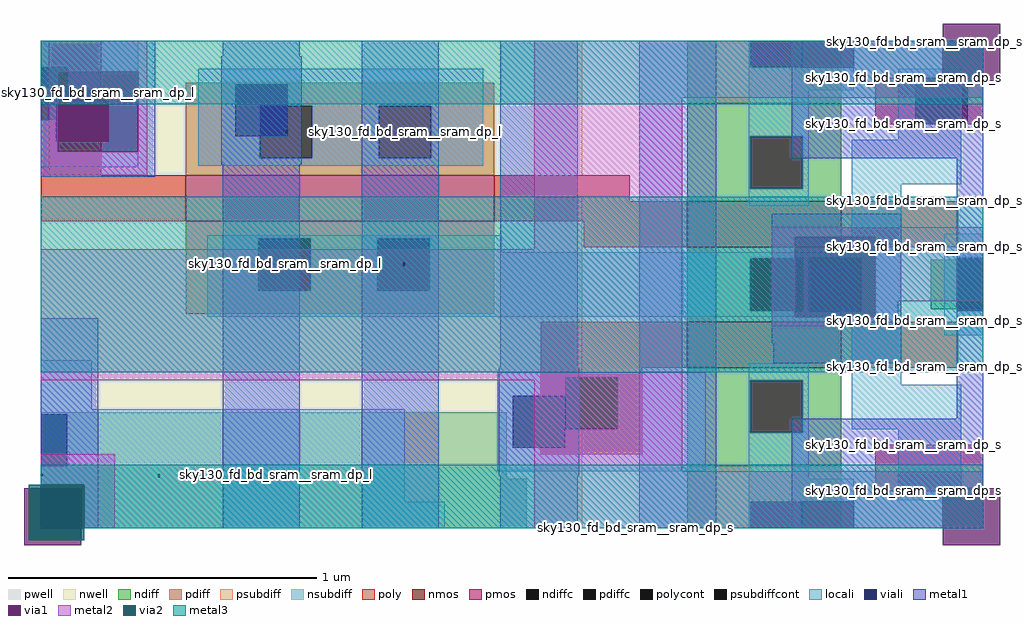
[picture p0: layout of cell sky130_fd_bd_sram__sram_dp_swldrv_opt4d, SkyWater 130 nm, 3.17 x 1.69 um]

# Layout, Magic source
magic
tech sky130A
magscale 1 2
<< psubdiffcont >>
rect 460 0 494 17
<< polycont >>
rect 567 262 601 292
<< locali >>
rect 594 174 611 175
rect 594 141 611 142
use sky130_fd_bd_sram__sram_dp_swldrv_strap2  sky130_fd_bd_sram__sram_dp_swldrv_strap2_0
transform 1 0 0 0 -1 316
box 0 0 74 316
use sky130_fd_bd_sram__sram_dp_mcon_05  sky130_fd_bd_sram__sram_dp_mcon_05_0
transform 0 1 0 -1 0 57
box -17 0 17 17
use sky130_fd_bd_sram__sram_dp_swldrv_mcon_a  sky130_fd_bd_sram__sram_dp_swldrv_mcon_a_0
transform 1 0 126 0 -1 302
box -9 -4 223 268
use sky130_fd_bd_sram__sram_dp_swldrv_p1lic  sky130_fd_bd_sram__sram_dp_swldrv_p1lic_0
transform 1 0 611 0 -1 316
box 0 0 1 1
use sky130_fd_bd_sram__sram_dp_swldrv_coreid  sky130_fd_bd_sram__sram_dp_swldrv_coreid_0
transform 1 0 385 0 1 0
box 0 0 1 1
use sky130_fd_bd_sram__sram_dp_swldrv_p1m_siz_a  sky130_fd_bd_sram__sram_dp_swldrv_p1m_siz_a_0
transform 1 0 611 0 1 1
box -52 23 -33 292
use sky130_fd_bd_sram__sram_dp_swldrv_met2_lwl  sky130_fd_bd_sram__sram_dp_swldrv_met2_lwl_0
transform 1 0 611 0 -1 316
box -137 121 0 185
use sky130_fd_bd_sram__sram_dp_swldrv_p1m_ser  sky130_fd_bd_sram__sram_dp_swldrv_p1m_ser_0
transform 1 0 611 0 1 0
box -52 54 -34 293
use sky130_fd_bd_sram__sram_dp_swldrv_tap  sky130_fd_bd_sram__sram_dp_swldrv_tap_0
transform 1 0 0 0 -1 47
box 0 -62 519 47
use sky130_fd_bd_sram__sram_dp_swldrv_base  sky130_fd_bd_sram__sram_dp_swldrv_base_0
transform 1 0 611 0 -1 316
box -611 0 0 316
use sky130_fd_bd_sram__sram_dp_swldrv_met23_2  sky130_fd_bd_sram__sram_dp_swldrv_met23_2_0
transform 1 0 611 0 -1 316
box -622 -11 11 327
<< properties >>
string GDS_FILE sky130_fd_bd_sram__sram_dp_swldrv_opt4d.gds
string GDS_END 10528
string GDS_START 9760
<< end >>

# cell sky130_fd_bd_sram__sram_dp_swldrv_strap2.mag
magic
tech sky130A
magscale 1 2
<< viali >>
rect 10 31 44 65
<< metal1 >>
rect 0 180 37 316
rect 0 72 74 88
rect 0 65 11 72
rect 0 31 10 65
rect 0 20 11 31
rect 63 20 74 72
rect 0 0 74 20
<< via1 >>
rect 11 65 63 72
rect 11 31 44 65
rect 44 31 63 65
rect 11 20 63 31
<< metal2 >>
rect 5 72 69 87
rect 5 20 11 72
rect 63 20 69 72
rect 5 0 69 20
<< properties >>
string GDS_FILE sky130_fd_bd_sram__sram_dp_swldrv_strap2.gds
string GDS_END 494
string GDS_START 170
<< end >>

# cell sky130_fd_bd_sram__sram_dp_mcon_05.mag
magic
tech sky130A
magscale 1 2
<< viali >>
rect -17 0 17 17
<< properties >>
string GDS_FILE sky130_fd_bd_sram__sram_dp_mcon_05.gds
string GDS_END 226
string GDS_START 158
<< end >>

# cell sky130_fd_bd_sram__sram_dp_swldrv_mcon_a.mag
magic
tech sky130A
magscale 1 2
<< viali >>
rect 180 216 214 250
rect 0 14 34 48
<< metal1 >>
rect 171 250 223 268
rect 171 216 180 250
rect 214 216 223 250
rect 171 198 223 216
rect -9 48 43 66
rect -9 14 0 48
rect 34 14 43 48
rect -9 -4 43 14
<< properties >>
string GDS_FILE sky130_fd_bd_sram__sram_dp_swldrv_mcon_a.gds
string GDS_END 430
string GDS_START 170
<< end >>

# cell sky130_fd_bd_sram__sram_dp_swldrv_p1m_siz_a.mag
magic
tech sky130A
magscale 1 2
use sky130_fd_bd_sram__sram_dp_swldrv_opt1_poly_siz_optb  sky130_fd_bd_sram__sram_dp_swldrv_opt1_poly_siz_optb_0
transform 1 0 -52 0 1 23
box 0 0 1 1
use sky130_fd_bd_sram__sram_dp_swldrv_opt1_poly_siz_optb  sky130_fd_bd_sram__sram_dp_swldrv_opt1_poly_siz_optb_1
transform 1 0 -52 0 1 261
box 0 0 1 1
use sky130_fd_bd_sram__sram_dp_swldrv_opt1_poly_siz_opta  sky130_fd_bd_sram__sram_dp_swldrv_opt1_poly_siz_opta_0
transform 1 0 -52 0 1 291
box 0 0 1 1
use sky130_fd_bd_sram__sram_dp_swldrv_opt1_poly_siz_opta  sky130_fd_bd_sram__sram_dp_swldrv_opt1_poly_siz_opta_1
transform 1 0 -52 0 1 53
box 0 0 1 1
use sky130_fd_bd_sram__sram_dp_swldrv_opt1_poly_siz_optd  sky130_fd_bd_sram__sram_dp_swldrv_opt1_poly_siz_optd_0
transform 1 0 -34 0 1 181
box 0 0 1 1
use sky130_fd_bd_sram__sram_dp_swldrv_opt1_poly_siz_optd  sky130_fd_bd_sram__sram_dp_swldrv_opt1_poly_siz_optd_1
transform 1 0 -34 0 1 103
box 0 0 1 1
use sky130_fd_bd_sram__sram_dp_swldrv_opt1_poly_siz_optc  sky130_fd_bd_sram__sram_dp_swldrv_opt1_poly_siz_optc_0
transform 1 0 -34 0 1 211
box 0 0 1 1
use sky130_fd_bd_sram__sram_dp_swldrv_opt1_poly_siz_optc  sky130_fd_bd_sram__sram_dp_swldrv_opt1_poly_siz_optc_1
transform 1 0 -34 0 1 133
box 0 0 1 1
<< properties >>
string GDS_FILE sky130_fd_bd_sram__sram_dp_swldrv_p1m_siz_a.gds
string GDS_END 1654
string GDS_START 1042
<< end >>

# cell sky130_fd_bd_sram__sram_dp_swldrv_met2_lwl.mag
magic
tech sky130A
magscale 1 2
<< via1 >>
rect -122 127 -70 179
<< metal2 >>
rect -137 179 -55 185
rect -137 127 -122 179
rect -70 169 -55 179
rect -70 127 0 169
rect -137 121 0 127
<< properties >>
string GDS_FILE sky130_fd_bd_sram__sram_dp_swldrv_met2_lwl.gds
string GDS_END 322
string GDS_START 174
<< end >>

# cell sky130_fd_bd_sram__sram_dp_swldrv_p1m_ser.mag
magic
tech sky130A
magscale 1 2
use sky130_fd_bd_sram__sram_dp_cell_poly_srf_opta  sky130_fd_bd_sram__sram_dp_cell_poly_srf_opta_0
transform -1 0 -34 0 1 212
box 0 0 1 1
use sky130_fd_bd_sram__sram_dp_cell_poly_srf_opta  sky130_fd_bd_sram__sram_dp_cell_poly_srf_opta_1
transform -1 0 -34 0 1 134
box 0 0 1 1
use sky130_fd_bd_sram__sram_dp_cell_poly_srf_opta  sky130_fd_bd_sram__sram_dp_cell_poly_srf_opta_2
transform 1 0 -52 0 1 54
box 0 0 1 1
use sky130_fd_bd_sram__sram_dp_cell_poly_srf_opta  sky130_fd_bd_sram__sram_dp_cell_poly_srf_opta_3
transform 1 0 -52 0 1 292
box 0 0 1 1
<< properties >>
string GDS_FILE sky130_fd_bd_sram__sram_dp_swldrv_p1m_ser.gds
string GDS_END 640
string GDS_START 320
<< end >>

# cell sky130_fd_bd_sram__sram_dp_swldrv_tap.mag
magic
tech sky130A
magscale 1 2
<< pwell >>
rect 0 15 315 47
rect 0 -28 302 15
rect 419 7 519 47
<< psubdiff >>
rect 419 7 519 47
<< nsubdiff >>
rect 0 15 315 47
rect 0 -28 302 15
<< locali >>
rect 0 30 262 47
rect 0 -30 236 30
rect 0 -62 33 -30
use sky130_fd_bd_sram__sram_dp_licon_1  sky130_fd_bd_sram__sram_dp_licon_1_0
transform 1 0 152 0 1 13
box 0 -1 1 1
use sky130_fd_bd_sram__sram_dp_licon_1  sky130_fd_bd_sram__sram_dp_licon_1_1
transform 1 0 76 0 1 13
box 0 -1 1 1
use sky130_fd_bd_sram__sram_dp_licon_05  sky130_fd_bd_sram__sram_dp_licon_05_0
transform 0 1 0 -1 0 13
box 0 0 1 1
<< properties >>
string GDS_FILE sky130_fd_bd_sram__sram_dp_swldrv_tap.gds
string GDS_END 1288
string GDS_START 498
<< end >>

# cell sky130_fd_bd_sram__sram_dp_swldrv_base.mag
magic
tech sky130A
magscale 1 2
<< nwell >>
rect -611 0 -260 316
<< pwell >>
rect -192 0 -92 40
<< nmos >>
rect -192 182 -92 212
rect -192 104 -92 134
<< pmos >>
rect -517 87 -317 117
<< ndiff >>
rect -192 254 -92 276
rect -192 220 -151 254
rect -117 220 -92 254
rect -192 212 -92 220
rect -192 175 -92 182
rect -192 141 -151 175
rect -117 141 -92 175
rect -34 142 -17 174
rect -192 134 -92 141
rect -192 96 -92 104
rect -192 62 -151 96
rect -117 62 -92 96
rect -192 40 -92 62
<< pdiff >>
rect -517 162 -317 177
rect -517 128 -470 162
rect -436 128 -393 162
rect -359 128 -317 162
rect -517 117 -317 128
rect -517 76 -317 87
rect -517 42 -469 76
rect -435 42 -392 76
rect -358 42 -317 76
rect -517 27 -317 42
<< ndiffc >>
rect -151 220 -117 254
rect -151 141 -117 175
rect -17 142 0 174
rect -151 62 -117 96
<< pdiffc >>
rect -470 128 -436 162
rect -393 128 -359 162
rect -469 42 -435 76
rect -392 42 -358 76
<< psubdiff >>
rect -192 17 -92 40
rect -192 0 -151 17
rect -117 0 -92 17
<< psubdiffcont >>
rect -151 0 -117 17
<< poly >>
rect -287 252 -221 268
rect -287 218 -271 252
rect -237 218 -221 252
rect -287 212 -221 218
rect -70 262 0 292
rect -287 182 -192 212
rect -92 182 -16 212
rect -259 117 -192 134
rect -611 87 -517 117
rect -317 104 -192 117
rect -92 104 -16 134
rect -317 87 -229 104
rect -611 51 -572 87
rect -594 17 -572 51
rect -611 0 -572 17
rect -70 24 0 54
<< polycont >>
rect -271 218 -237 252
rect -611 17 -594 51
<< locali >>
rect -152 299 -118 316
rect -152 284 -84 299
rect -315 252 -180 279
rect -315 218 -271 252
rect -237 218 -180 252
rect -315 215 -180 218
rect -152 254 -113 284
rect -152 220 -151 254
rect -117 220 -113 254
rect -55 252 -14 298
rect -152 209 -113 220
rect -85 223 -14 252
rect -85 179 -53 223
rect -503 175 -53 179
rect -503 162 -151 175
rect -503 128 -470 162
rect -436 128 -393 162
rect -359 141 -151 162
rect -117 141 -113 175
rect -79 141 -53 175
rect -359 137 -53 141
rect -359 128 -312 137
rect -503 126 -312 128
rect -152 96 -113 107
rect -611 51 -548 82
rect -594 17 -548 51
rect -509 76 -324 81
rect -509 42 -469 76
rect -435 42 -392 76
rect -358 42 -324 76
rect -509 18 -324 42
rect -152 62 -151 96
rect -117 62 -113 96
rect -85 93 -53 137
rect -25 175 0 191
rect -25 141 -17 175
rect -25 125 0 141
rect -85 64 -14 93
rect -152 32 -113 62
rect -611 0 -548 17
rect -152 17 -84 32
rect -55 18 -14 64
rect -152 0 -151 17
<< viali >>
rect -118 299 -84 316
rect -113 141 -79 175
rect -17 174 0 175
rect -17 142 0 174
rect -17 141 0 142
rect -118 0 -117 17
rect -117 0 -84 17
<< metal1 >>
rect -493 0 -443 316
rect -403 0 -353 316
rect -313 0 -263 316
rect -223 0 -173 316
rect -124 299 -118 316
rect -84 299 0 316
rect -124 245 0 299
rect -136 196 -53 209
rect -137 175 -53 196
rect -137 141 -113 175
rect -79 141 -53 175
rect -137 112 -53 141
rect -17 175 0 245
rect -17 76 0 141
rect -124 17 0 76
rect -124 0 -118 17
rect -84 0 0 17
use sky130_fd_bd_sram__sram_dp_licon_05  sky130_fd_bd_sram__sram_dp_licon_05_0
transform 0 1 -611 -1 0 34
box 0 0 1 1
use sky130_fd_bd_sram__sram_dp_licon_1  sky130_fd_bd_sram__sram_dp_licon_1_0
transform 1 0 -453 0 1 145
box 0 -1 1 1
use sky130_fd_bd_sram__sram_dp_licon_1  sky130_fd_bd_sram__sram_dp_licon_1_1
transform 1 0 -376 0 1 145
box 0 -1 1 1
use sky130_fd_bd_sram__sram_dp_licon_1  sky130_fd_bd_sram__sram_dp_licon_1_2
transform 1 0 -375 0 1 59
box 0 -1 1 1
use sky130_fd_bd_sram__sram_dp_licon_1  sky130_fd_bd_sram__sram_dp_licon_1_3
transform 1 0 -452 0 1 59
box 0 -1 1 1
<< properties >>
string GDS_FILE sky130_fd_bd_sram__sram_dp_swldrv_base.gds
string GDS_END 4588
string GDS_START 498
<< end >>

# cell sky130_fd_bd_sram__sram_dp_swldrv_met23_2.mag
magic
tech sky130A
magscale 1 2
<< via1 >>
rect -622 290 -585 327
rect -26 290 11 327
rect -26 -11 11 26
<< metal2 >>
rect -583 288 -563 316
rect -611 268 -563 288
rect -291 290 -26 316
rect -291 279 0 290
rect -291 220 -195 279
rect -611 135 -195 220
rect -291 37 -195 135
rect -291 26 0 37
rect -291 0 -26 26
<< via2 >>
rect -619 290 -585 324
rect -585 290 -583 324
rect -619 288 -583 290
<< metal3 >>
rect -583 288 0 316
rect -611 275 0 288
rect -611 101 0 215
rect -611 0 0 41
<< properties >>
string GDS_FILE sky130_fd_bd_sram__sram_dp_swldrv_met23_2.gds
string GDS_END 818
string GDS_START 174
<< end >>

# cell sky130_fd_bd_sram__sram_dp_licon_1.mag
magic
tech sky130A
magscale 1 2
use sky130_fd_bd_sram__sram_dp_licon_05  sky130_fd_bd_sram__sram_dp_licon_05_0
transform 1 0 0 0 -1 0
box 0 0 1 1
use sky130_fd_bd_sram__sram_dp_licon_05  sky130_fd_bd_sram__sram_dp_licon_05_1
transform 1 0 0 0 1 0
box 0 0 1 1
<< properties >>
string GDS_FILE sky130_fd_bd_sram__sram_dp_licon_1.gds
string GDS_END 424
string GDS_START 294
<< end >>
